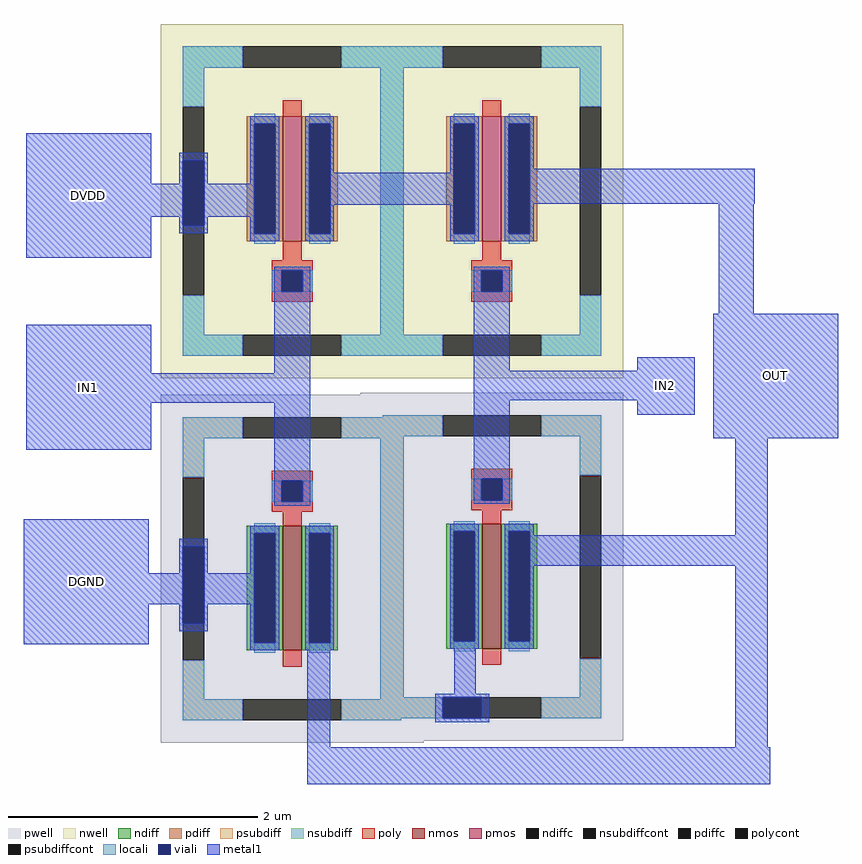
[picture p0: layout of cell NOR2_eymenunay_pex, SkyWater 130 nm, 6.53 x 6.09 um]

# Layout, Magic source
magic
tech sky130B
magscale 1 2
<< nwell >>
rect 450 -328 1192 240
<< pwell >>
rect 770 -354 1192 -351
rect 450 -909 1192 -354
rect 450 -912 872 -909
<< nmos >>
rect 646 -764 676 -564
rect 966 -761 996 -561
<< pmos >>
rect 646 -108 676 92
rect 966 -108 996 92
<< ndiff >>
rect 588 -576 646 -564
rect 588 -752 600 -576
rect 634 -752 646 -576
rect 588 -764 646 -752
rect 676 -576 734 -564
rect 676 -752 688 -576
rect 722 -752 734 -576
rect 676 -764 734 -752
rect 908 -573 966 -561
rect 908 -749 920 -573
rect 954 -749 966 -573
rect 908 -761 966 -749
rect 996 -573 1054 -561
rect 996 -749 1008 -573
rect 1042 -749 1054 -573
rect 996 -761 1054 -749
<< pdiff >>
rect 588 80 646 92
rect 588 -96 600 80
rect 634 -96 646 80
rect 588 -108 646 -96
rect 676 80 734 92
rect 676 -96 688 80
rect 722 -96 734 80
rect 676 -108 734 -96
rect 908 80 966 92
rect 908 -96 920 80
rect 954 -96 966 80
rect 908 -108 966 -96
rect 996 80 1054 92
rect 996 -96 1008 80
rect 1042 -96 1054 80
rect 996 -108 1054 -96
<< ndiffc >>
rect 600 -752 634 -576
rect 688 -752 722 -576
rect 920 -749 954 -573
rect 1008 -749 1042 -573
<< pdiffc >>
rect 600 -96 634 80
rect 688 -96 722 80
rect 920 -96 954 80
rect 1008 -96 1042 80
<< psubdiff >>
rect 806 -390 902 -387
rect 486 -424 582 -390
rect 740 -421 902 -390
rect 1060 -421 1156 -387
rect 740 -424 840 -421
rect 486 -486 520 -424
rect 486 -842 520 -780
rect 802 -839 840 -424
rect 1122 -483 1156 -421
rect 1122 -839 1156 -777
rect 802 -842 902 -839
rect 486 -876 582 -842
rect 740 -873 902 -842
rect 1060 -873 1156 -839
rect 740 -876 836 -873
<< nsubdiff >>
rect 486 170 582 204
rect 740 170 902 204
rect 1060 170 1156 204
rect 486 107 520 170
rect 486 -258 520 -195
rect 802 -258 840 170
rect 1122 107 1156 170
rect 1122 -258 1156 -195
rect 486 -292 582 -258
rect 740 -292 902 -258
rect 1060 -292 1156 -258
<< psubdiffcont >>
rect 582 -424 740 -390
rect 902 -421 1060 -387
rect 486 -780 520 -486
rect 1122 -777 1156 -483
rect 582 -876 740 -842
rect 902 -873 1060 -839
<< nsubdiffcont >>
rect 582 170 740 204
rect 902 170 1060 204
rect 486 -195 520 107
rect 1122 -195 1156 107
rect 582 -292 740 -258
rect 902 -292 1060 -258
<< poly >>
rect 646 92 676 118
rect 646 -139 676 -108
rect 628 -155 694 -139
rect 628 -189 644 -155
rect 678 -189 694 -155
rect 628 -205 694 -189
rect 966 92 996 118
rect 966 -139 996 -108
rect 948 -155 1014 -139
rect 948 -189 964 -155
rect 998 -189 1014 -155
rect 948 -205 1014 -189
rect 628 -492 694 -476
rect 628 -526 644 -492
rect 678 -526 694 -492
rect 628 -542 694 -526
rect 646 -564 676 -542
rect 646 -790 676 -764
rect 948 -489 1014 -473
rect 948 -523 964 -489
rect 998 -523 1014 -489
rect 948 -539 1014 -523
rect 966 -561 996 -539
rect 966 -787 996 -761
<< polycont >>
rect 644 -189 678 -155
rect 964 -189 998 -155
rect 644 -526 678 -492
rect 964 -523 998 -489
<< locali >>
rect 486 170 582 204
rect 740 170 902 204
rect 1060 170 1156 204
rect 486 107 520 170
rect 600 80 634 96
rect 600 -112 634 -96
rect 688 80 722 96
rect 688 -112 722 -96
rect 628 -189 644 -155
rect 678 -189 694 -155
rect 486 -258 520 -195
rect 802 -258 840 170
rect 1122 107 1156 170
rect 920 80 954 96
rect 920 -112 954 -96
rect 1008 80 1042 96
rect 1008 -112 1042 -96
rect 948 -189 964 -155
rect 998 -189 1014 -155
rect 1122 -258 1156 -195
rect 486 -292 582 -258
rect 740 -292 902 -258
rect 1060 -292 1156 -258
rect 806 -390 902 -387
rect 486 -424 582 -390
rect 740 -421 902 -390
rect 1060 -421 1156 -387
rect 740 -424 840 -421
rect 486 -486 520 -424
rect 628 -526 644 -492
rect 678 -526 694 -492
rect 600 -576 634 -560
rect 600 -768 634 -752
rect 688 -576 722 -560
rect 688 -768 722 -752
rect 486 -842 520 -780
rect 802 -839 840 -424
rect 1122 -483 1156 -421
rect 948 -523 964 -489
rect 998 -523 1014 -489
rect 920 -573 954 -557
rect 920 -765 954 -749
rect 1008 -573 1042 -557
rect 1008 -765 1042 -749
rect 1122 -839 1156 -777
rect 802 -842 902 -839
rect 486 -876 582 -842
rect 740 -873 902 -842
rect 1060 -873 1156 -839
rect 740 -876 836 -873
<< viali >>
rect 486 -83 520 22
rect 600 -96 634 80
rect 688 -96 722 80
rect 644 -189 678 -155
rect 920 -96 954 80
rect 1008 -96 1042 80
rect 964 -189 998 -155
rect 644 -526 678 -492
rect 486 -721 520 -597
rect 600 -752 634 -576
rect 688 -752 722 -576
rect 964 -523 998 -489
rect 920 -749 954 -573
rect 1008 -749 1042 -573
rect 902 -873 965 -839
<< metal1 >>
rect 594 80 640 92
rect 235 -16 435 65
rect 480 22 526 34
rect 480 -16 486 22
rect 235 -69 486 -16
rect 235 -135 435 -69
rect 480 -83 486 -69
rect 520 -16 526 22
rect 594 -16 600 80
rect 520 -69 600 -16
rect 520 -83 526 -69
rect 480 -95 526 -83
rect 594 -96 600 -69
rect 634 -96 640 80
rect 594 -108 640 -96
rect 682 80 728 92
rect 682 -96 688 80
rect 722 2 728 80
rect 914 80 960 92
rect 914 2 920 80
rect 722 -50 920 2
rect 722 -96 728 -50
rect 682 -108 728 -96
rect 914 -96 920 -50
rect 954 -96 960 80
rect 914 -108 960 -96
rect 1002 80 1048 92
rect 1002 -96 1008 80
rect 1042 8 1048 80
rect 1042 -48 1402 8
rect 1042 -96 1048 -48
rect 1002 -108 1048 -96
rect 632 -155 690 -149
rect 632 -189 644 -155
rect 678 -189 690 -155
rect 235 -320 435 -242
rect 632 -320 690 -189
rect 235 -367 690 -320
rect 235 -442 435 -367
rect 632 -492 690 -367
rect 632 -526 644 -492
rect 678 -526 690 -492
rect 632 -532 690 -526
rect 952 -155 1010 -149
rect 952 -189 964 -155
rect 998 -189 1010 -155
rect 952 -316 1010 -189
rect 1345 -224 1401 -48
rect 1214 -316 1306 -294
rect 952 -363 1306 -316
rect 952 -489 1010 -363
rect 1214 -386 1306 -363
rect 1336 -424 1536 -224
rect 952 -523 964 -489
rect 998 -523 1010 -489
rect 952 -529 1010 -523
rect 231 -640 431 -554
rect 594 -576 640 -564
rect 480 -597 526 -585
rect 480 -640 486 -597
rect 231 -690 486 -640
rect 231 -754 431 -690
rect 480 -721 486 -690
rect 520 -640 526 -597
rect 594 -640 600 -576
rect 520 -690 600 -640
rect 520 -721 526 -690
rect 480 -733 526 -721
rect 594 -752 600 -690
rect 634 -752 640 -576
rect 594 -764 640 -752
rect 682 -576 728 -564
rect 682 -752 688 -576
rect 722 -752 728 -576
rect 682 -764 728 -752
rect 914 -573 960 -561
rect 914 -749 920 -573
rect 954 -749 960 -573
rect 914 -761 960 -749
rect 1002 -573 1048 -561
rect 1002 -749 1008 -573
rect 1042 -579 1048 -573
rect 1371 -579 1423 -424
rect 1042 -628 1423 -579
rect 1042 -749 1048 -628
rect 1002 -761 1048 -749
rect 685 -919 722 -764
rect 921 -833 955 -761
rect 890 -839 977 -833
rect 890 -873 902 -839
rect 965 -873 977 -839
rect 890 -879 977 -873
rect 1371 -919 1423 -628
rect 685 -978 1427 -919
<< labels >>
flabel metal1 1214 -386 1306 -294 1 FreeMono 160 0 0 0 IN2
port 5 n
flabel metal1 1336 -424 1536 -224 0 FreeSans 256 0 0 0 OUT
port 4 nsew
flabel metal1 235 -442 435 -242 0 FreeSans 256 0 0 0 IN1
port 0 nsew
flabel metal1 231 -754 431 -554 0 FreeSans 256 0 0 0 DGND
port 3 nsew
flabel metal1 235 -135 435 65 0 FreeSans 256 0 0 0 DVDD
port 2 nsew
<< end >>
